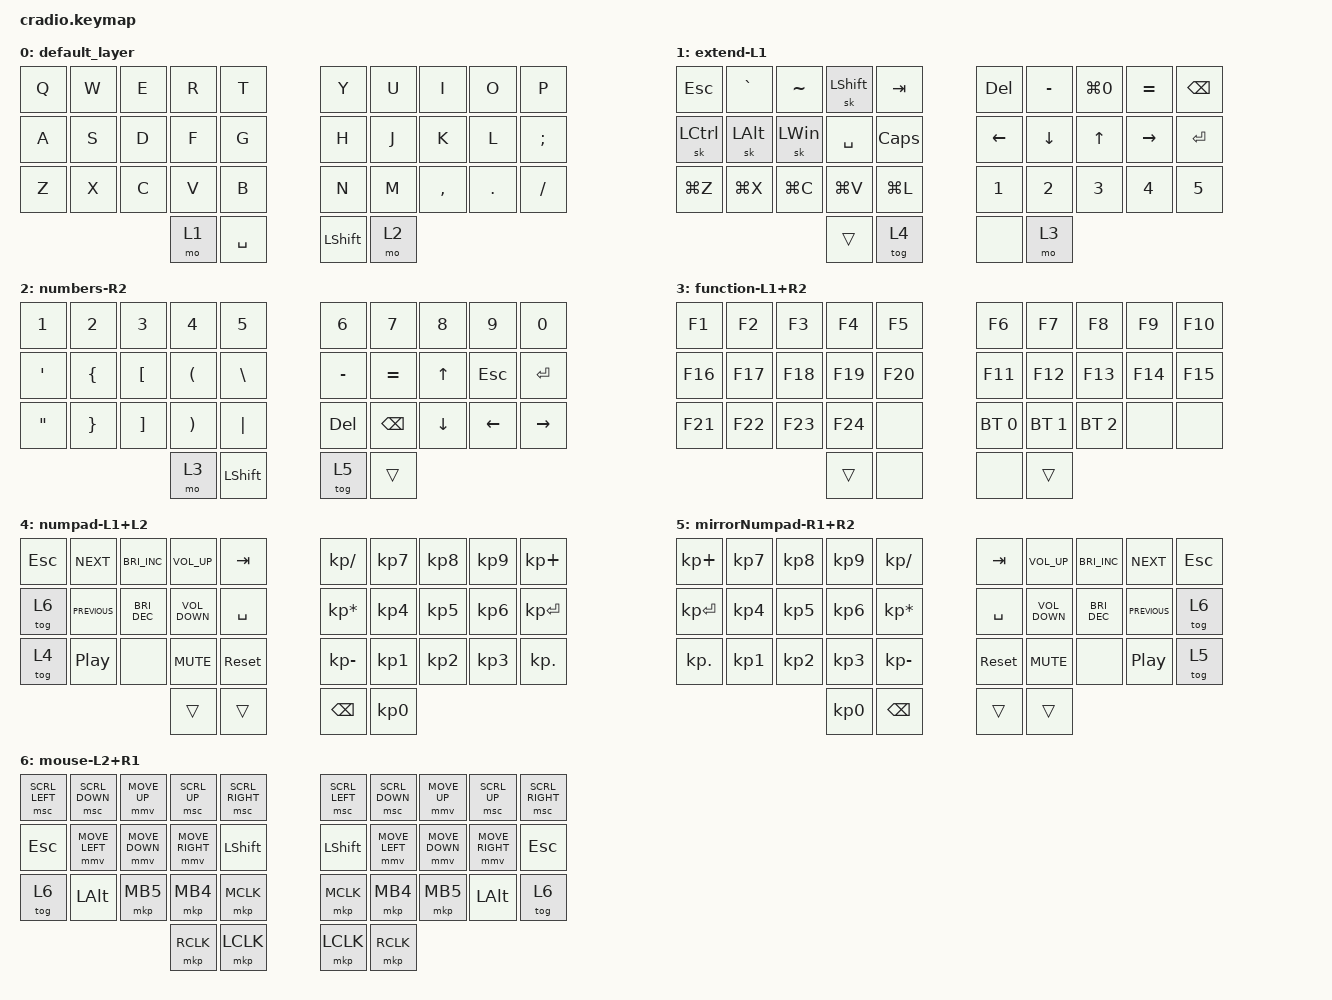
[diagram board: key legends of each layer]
#define ZMK_POINTING_DEFAULT_MOVE_VAL 1000  // default: 600
#define ZMK_POINTING_DEFAULT_SCRL_VAL 20    // default: 10

#include <behaviors.dtsi>
#include <dt-bindings/zmk/bt.h>
#include <dt-bindings/zmk/keys.h>
#include <dt-bindings/zmk/pointing.h>

&sk { ignore-modifiers; };

&mmv {
    time-to-max-speed-ms = <400>;         // default: 300
    acceleration-exponent = <1>;          // default: 1
    delay-ms = <0>;                       // default: 0
};

&msc {
    time-to-max-speed-ms = <300>;         // default: 300
    acceleration-exponent = <0>;          // default: 0
    delay-ms = <0>;                       // default: 0
};

/ {
    macros {
        unstick: unstick {
            label = "ZM_unstick";
            compatible = "zmk,behavior-macro";
            #binding-cells = <0>;
            bindings = <&kp LSHIFT &kp RSHIFT &kp LCTRL &kp RCTRL &kp LALT &kp RALT &kp LGUI &kp RGUI>;
        };
    };

    combos {
        compatible = "zmk,combos";

        // both right thumb keys

        mirrorNumpad-layer {
            timeout-ms = <250>;
            key-positions = <32 33>;
            bindings = <&mo 5>;
        };

        numpad-layer {
            timeout-ms = <250>;
            key-positions = <30 31>;
            bindings = <&mo 4>;
        };

        mouse-layer {
            bindings = <&tog 6>;
            key-positions = <31 32>;
            timeout-ms = <51>;
        };
    };

    keymap {
        compatible = "zmk,keymap";

        default_layer {
            bindings = <
&kp Q  &kp W  &kp E  &kp R  &kp T        &kp Y           &kp U  &kp I      &kp O    &kp P
&kp A  &kp S  &kp D  &kp F  &kp G        &kp H           &kp J  &kp K      &kp L    &kp SEMICOLON
&kp Z  &kp X  &kp C  &kp V  &kp B        &kp N           &kp M  &kp COMMA  &kp DOT  &kp SLASH
                     &mo 1  &kp SPACE    &kp LEFT_SHIFT  &mo 2
            >;
        };

        extend-L1 {
            bindings = <
&kp ESC           &kp GRAVE     &kp TILDE     &sk LSHIFT  &kp TAB         &kp DELETE  &kp MINUS  &kp LG(N0)  &kp EQUAL  &kp BACKSPACE
&sk LEFT_CONTROL  &sk LEFT_ALT  &sk LEFT_WIN  &kp SPACE   &kp CAPSLOCK    &kp LEFT    &kp DOWN   &kp UP      &kp RIGHT  &kp ENTER
&kp LG(Z)         &kp LG(X)     &kp LG(C)     &kp LG(V)   &kp LG(L)       &kp N1      &kp N2     &kp N3      &kp N4     &kp N5
                                              &trans      &tog 4          &none       &mo 3
            >;
        };

        numbers-R2 {
            bindings = <
&kp N1             &kp N2           &kp N3             &kp N4                 &kp N5            &kp N6      &kp N7         &kp N8    &kp N9     &kp N0
&kp SQT            &kp LEFT_BRACE   &kp LEFT_BRACKET   &kp LEFT_PARENTHESIS   &kp BACKSLASH     &kp MINUS   &kp EQUAL      &kp UP    &kp ESC    &kp ENTER
&kp DOUBLE_QUOTES  &kp RIGHT_BRACE  &kp RIGHT_BRACKET  &kp RIGHT_PARENTHESIS  &kp PIPE          &kp DELETE  &kp BACKSPACE  &kp DOWN  &kp LEFT   &kp RIGHT
                                                       &mo 3                  &kp LEFT_SHIFT    &tog 5      &trans
            >;
        };

        function-L1+R2 {
            bindings = <
&kp F1   &kp F2   &kp F3   &kp F4   &kp F5     &kp F6        &kp F7        &kp F8        &kp F9   &kp F10
&kp F16  &kp F17  &kp F18  &kp F19  &kp F20    &kp F11       &kp F12       &kp F13       &kp F14  &kp F15
&kp F21  &kp F22  &kp F23  &kp F24  &none      &bt BT_SEL 0  &bt BT_SEL 1  &bt BT_SEL 2  &none    &none
                           &trans   &none      &none         &trans
            >;
        };

        numpad-L1+L2 {
            bindings = <
&kp ESC  &kp C_NEXT        &kp C_BRIGHTNESS_INC  &kp C_VOLUME_UP    &kp TAB       &kp KP_DIVIDE    &kp KP_NUMBER_7  &kp KP_NUMBER_8  &kp KP_NUMBER_9  &kp KP_PLUS
&tog 6   &kp C_PREVIOUS    &kp C_BRIGHTNESS_DEC  &kp C_VOLUME_DOWN  &kp SPACE     &kp KP_MULTIPLY  &kp KP_NUMBER_4  &kp KP_NUMBER_5  &kp KP_NUMBER_6  &kp KP_ENTER
&tog 4   &kp C_PLAY_PAUSE  &none                 &kp C_MUTE         &sys_reset    &kp KP_SUBTRACT  &kp KP_NUMBER_1  &kp KP_NUMBER_2  &kp KP_NUMBER_3  &kp KP_DOT
                                                 &trans             &trans        &kp BACKSPACE    &kp KP_N0
            >;
        };

        mirrorNumpad-R1+R2 {
            bindings = <
&kp KP_PLUS   &kp KP_N7  &kp KP_N8  &kp KP_N9  &kp KP_DIVIDE      &kp TAB     &kp C_VOLUME_UP    &kp C_BRIGHTNESS_INC  &kp C_NEXT        &kp ESC
&kp KP_ENTER  &kp KP_N4  &kp KP_N5  &kp KP_N6  &kp KP_MULTIPLY    &kp SPACE   &kp C_VOLUME_DOWN  &kp C_BRIGHTNESS_DEC  &kp C_PREVIOUS    &tog 6
&kp KP_DOT    &kp KP_N1  &kp KP_N2  &kp KP_N3  &kp KP_MINUS       &sys_reset  &kp C_MUTE         &none                 &kp C_PLAY_PAUSE  &tog 5
                                    &kp KP_N0  &kp BSPC           &trans      &trans
            >;
        };

        mouse-L2+R1 {
            bindings = <
&msc SCRL_LEFT  &msc SCRL_DOWN  &mmv MOVE_UP    &msc SCRL_UP     &msc SCRL_RIGHT    &msc SCRL_LEFT  &msc SCRL_DOWN  &mmv MOVE_UP    &msc SCRL_UP     &msc SCRL_RIGHT
&kp ESC         &mmv MOVE_LEFT  &mmv MOVE_DOWN  &mmv MOVE_RIGHT  &kp LEFT_SHIFT     &kp LEFT_SHIFT  &mmv MOVE_LEFT  &mmv MOVE_DOWN  &mmv MOVE_RIGHT  &kp ESC
&tog 6          &kp LEFT_ALT    &mkp MB5        &mkp MB4         &mkp MCLK          &mkp MCLK       &mkp MB4        &mkp MB5        &kp LEFT_ALT     &tog 6
                                                &mkp RCLK        &mkp LCLK          &mkp LCLK       &mkp RCLK
            >;
        };
    };
};
